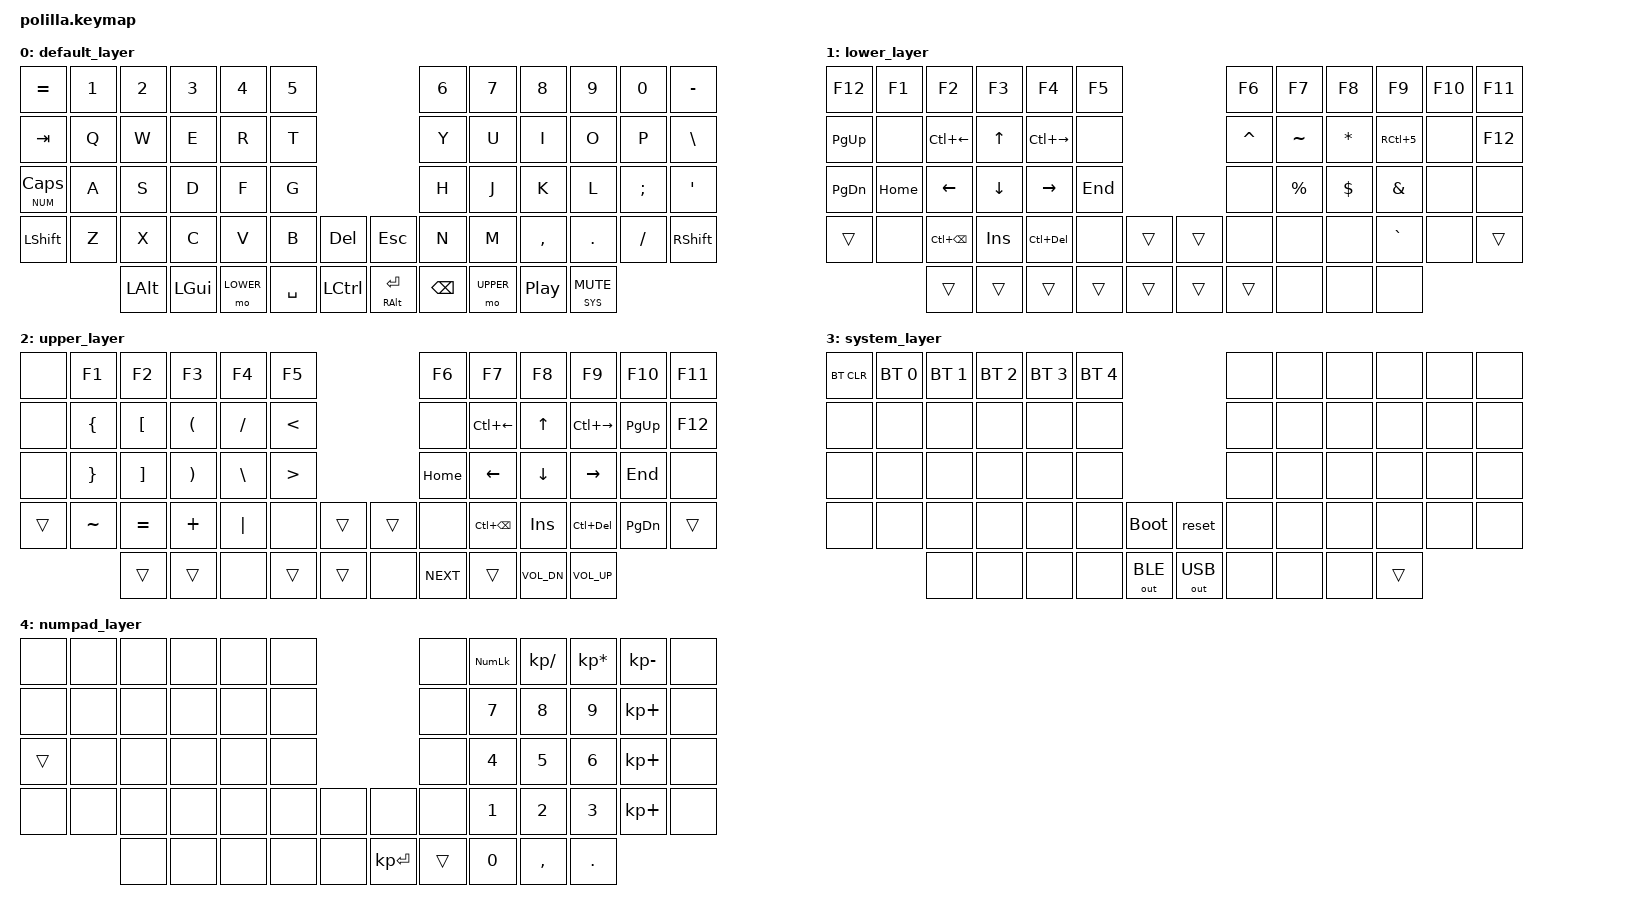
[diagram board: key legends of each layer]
/*
 * Copyright (c) 2020 The ZMK Contributors
 *
 * SPDX-License-Identifier: MIT
 */

#include <behaviors.dtsi>
#include <dt-bindings/zmk/keys.h>
#include <dt-bindings/zmk/bt.h>
#include <dt-bindings/zmk/outputs.h>

#define LOWER 1
#define UPPER 2
#define SYS 3
#define NUM 4


/ {
    keymap {
        compatible = "zmk,keymap";

        default_layer {
// ,-----------------------------------,              ,-----------------------------------,
// |  =  |  1  |  2  |  3  |  4  |  5  |              |  6  |  7  |  8  |  9  |  0  |  -  |
// | TAB |  Q  |  W  |  E  |  R  |  T  |              |  Y  |  U  |  I  |  O  |  P  |  \  |
// |CAPS/NUM| A|  S  |  D  |  F  |  G  |-----,  ,-----|  H  |  J  |  K  |  L  |  ;  |  '  |
// | SFT |  Z  |  X  |  C  |  V  |  B  | DEL |  | ESC |  N  |  M  |  ,  |  .  |  /  | SFT |
// '-----------| LAL | GUI |LOWER| SPC | CTL |  | RET | BSPC|UPPER| PP | SYS/Mute |------'
//             '-----------------------------'  '-----------------------------'
            bindings = <
&kp EQUAL       &kp N1      &kp N2      &kp N3      &kp N4      &kp N5                               &kp N6      &kp N7      &kp N8      &kp N9      &kp N0      &kp MINUS
&kp TAB         &kp Q       &kp W       &kp E       &kp R       &kp T                                &kp Y       &kp U       &kp I       &kp O       &kp P       &kp BSLH
&lt NUM CAPS    &kp A       &kp S       &kp D       &kp F       &kp G                                &kp H       &kp J       &kp K       &kp L       &kp SEMI    &kp SQT
&kp LSHFT       &kp Z       &kp X       &kp C       &kp V       &kp B       &kp DEL     &kp ESC      &kp N       &kp M       &kp COMMA   &kp DOT     &kp FSLH    &kp RSHFT
                        &kp LALT    &kp LGUI    &mo LOWER   &kp SPACE   &kp LCTRL   &mt RALT RET &kp BSPC   &mo UPPER   &kp C_PP     &lt SYS C_MUTE
            >;
        };

        lower_layer {
// ,-----------------------------------,              ,-----------------------------------,
// | F12 | F1  | F2  | F3  | F4  | F5  |              |  F6 |  F7 |  F8 |  F9 | F10 | F11 |
// | PGUP| --- | PREV| up  | NEXT| --- |              |  ^  |  ~  |  *  |  €  | --- | F12 |
// | PGDN| Home| <-  | down| ->  | END |-----,  ,-----| --- |  %  |  $  |  &  | --- | --- |
// |  T  | --- | DELP| INS | DELN| --- |  T  |  |  T  | --- | --- | --- |  `  | --- |  T  |
// '-----------|  T  |  T  |  T  |  T  |  T  |  |  T  |  T  | --- | --- | --- |-----------'
//             '-----------------------------'  '-----------------------------'
            bindings = <
&kp F12     &kp F1      &kp F2       &kp F3      &kp F4        &kp F5                          &kp F6      &kp F7      &kp F8      &kp F9      &kp F10     &kp F11
&kp PG_UP   &none       &kp LC(LEFT) &kp UP      &kp LC(RIGHT) &none                           &kp CARET   &kp TILDE   &kp ASTRK   &kp RC(N5)  &none       &kp F12
&kp PG_DN   &kp HOME    &kp LEFT     &kp DOWN    &kp RIGHT     &kp END                         &none       &kp PRCNT   &kp DOLLAR  &kp AMPS    &none       &none
&trans      &none       &kp LC(BSPC) &kp INS     &kp LC(DEL)   &none     &trans     &trans     &none       &none       &none       &kp GRAVE   &none   	   &trans
                        &trans       &trans      &trans        &trans    &trans     &trans     &trans      &none       &none       &none
            >;
        };

        upper_layer {
// ,-----------------------------------,              ,-----------------------------------,
// | --- |  F1 |  F2 |  F3 |  F4 |  F5 |              |  F6 |  F7 |  F8 |  F9 | F10 | F11 |
// | --- |  {  |  [  |  (  |  /  |  <  |              | --- | PREV|  UP | NEXT| PGUP| F12 |
// | --- |  }  |  ]  |  )  |  \  |  >  |-----,  ,-----| HOME| LEFT| DOWN|RIGHT| END | --- |
// |  T  |  ~  |  =  |  +  |  |  | --- |  T  |  |  T  | --- | DELP| INS | DELN| PGDN|  T  |
// '-----------|  T  |  T  | --- |  T  |  T  |  |  T  | NEXT|  T  | VOL-| VOL+|-----------'
//             '-----------------------------'  '-----------------------------'
            bindings = <
&none       &kp F1     	&kp F2      &kp F3      &kp F4      &kp F5                              &kp F6      &kp F7       &kp F8       &kp F9        &kp F10    &kp F11
&none       &kp LBRC    &kp LBKT    &kp LPAR    &kp FSLH    &kp LESS_THAN                       &none       &kp LC(LEFT) &kp UP       &kp LC(RIGHT) &kp PG_UP  &kp F12
&none       &kp RBRC    &kp RBKT    &kp RPAR    &kp BSLH    &kp GREATER_THAN                    &kp HOME    &kp LEFT     &kp DOWN     &kp RIGHT     &kp END    &none
&trans      &kp TILDE   &kp EQUAL   &kp PLUS    &kp PIPE    &none       &trans      &trans      &none       &kp LC(BSPC) &kp INS      &kp LC(DEL)   &kp PG_DN  &trans
                        &trans      &trans      &none       &trans      &trans      &none       &kp C_NEXT  &trans       &kp C_VOL_DN &kp C_VOL_UP
            >;
        };

        system_layer {
// ,-----------------------------------,              ,-----------------------------------,
// |BTCLR| BT1 | BT2 | BT3 | BT4 | BT5 |              | --- | --- | --- | --- | --- | --- |
// | --- | --- | --- | --- | --- | --- |              | --- | --- | --- | --- | --- | --- |
// | --- | --- | --- | --- | --- | --- |-----,  ,-----| --- | --- | --- | --- | --- | --- |
// | --- | --- | --- | --- | --- | --- |BOOT |  | RST | --- | --- | --- | --- | --- | --- |
// '-----------| --- | --- | --- | --- | BLE |  | USB | --- | --- |  T  | --- |-----------'
//             '-----------------------------'  '-----------------------------'
            bindings = < 
&bt BT_CLR	&bt BT_SEL 0 &bt BT_SEL 1 &bt BT_SEL 2 &bt BT_SEL 3 &bt BT_SEL 4                        &none      	&none      	&none      	&none      	&none     	&none
&none		&none 		&none 		&none 		&none 		&none                                   &none       &none 		&none     	&none 		&none  		&none
&none       &none       &none  		&none    	&none		&none                                   &none    	&none    	&none    	&none   	&none     	&none
&none   	&none       &none 		&none 		&none 		&none     	&bootloader   &reset        &none       &none 		&none    	&none 		&none    	&none
                        &none      	&none       &none      	&none      	&out OUT_BLE  &out OUT_USB  &none       &none      	&none       &trans
            >;
        };

        numpad_layer {
// ,-----------------------------------,              ,-----------------------------------,
// | --- | --- | --- | --- | --- | --- |              | --- | num |  /  |  *  |  -  | --- |
// | --- | --- | --- | --- | --- | --- |              | --- |  7  |  8  |  9  |  +  | --- |
// |  T  | --- | --- | --- | --- | --- |-----,  ,-----| --- |  4  |  5  |  6  |  +  | --- |
// | --- | --- | --- | --- | --- | --- | --- |  | --- | --- |  1  |  2  |  3  |  +  | --- |
// '-----------| --- | --- | --- | --- | --- |  | ENT |  T  |  0  |  ,  |  .  |-----------'
//             '-----------------------------'  '-----------------------------'
            bindings = < 
&none       &none       &none       &none       &none       &none                                   &none      	&kp KP_NLCK &kp KP_DIVIDE   &kp KP_MULTIPLY &kp KP_MINUS    &none
&none       &none       &none       &none       &none       &none                                   &none       &kp N7      &kp N8          &kp N9          &kp KP_PLUS     &none
&trans      &none       &none       &none       &none       &none                                   &none       &kp N4      &kp N5          &kp N6          &kp KP_PLUS     &none
&none       &none       &none       &none       &none       &none     	&none         &none         &none       &kp N1      &kp N2          &kp N3          &kp KP_PLUS     &none
                        &none      	&none       &none       &none      	&none         &kp KP_ENTER  &trans      &kp N0      &kp COMMA    &kp DOT
            >;
        };

    };
};
